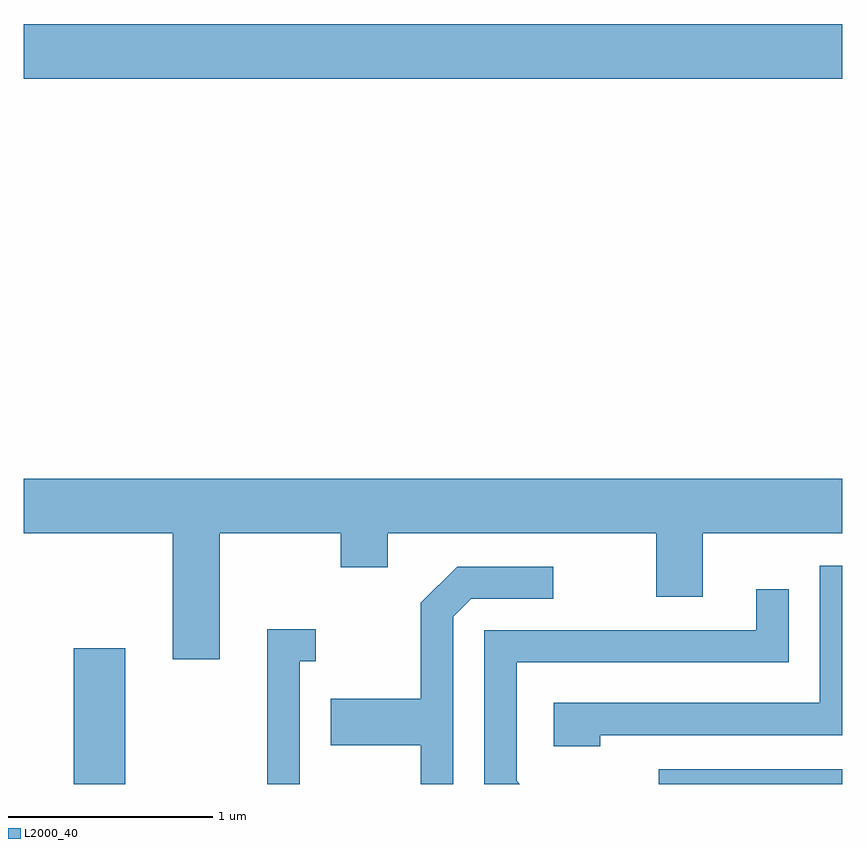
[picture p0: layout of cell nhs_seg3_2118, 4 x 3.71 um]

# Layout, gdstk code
import gdstk
lib = gdstk.Library(unit=1e-6, precision=1e-09)
def R(c, l, rs):  # rectangles x0, y0, x1, y1
    for r in rs: c.add(gdstk.rectangle(r[:2], r[2:], *l))
def P(c, l, *ps):  # polygons
    for p in ps: c.add(gdstk.Polygon(p, *l))
L2000_40 = (2000, 40)

nhs_seg3_2118 = lib.new_cell('nhs_seg3_2118')
R(nhs_seg3_2118, L2000_40, [(247.856,1135.892,248.109,1136.554), (250.713,1135.892,251.611,1135.964), (247.611,1139.336,251.611,1139.604)])
P(nhs_seg3_2118, L2000_40, [(248.569,1137.116),(249.161,1137.116),(249.161,1136.951),(249.389,1136.951),(249.389,1137.116),(250.701,1137.116),(250.701,1136.806),(250.929,1136.806),(250.929,1137.116),(251.611,1137.116),(251.611,1137.384),(247.611,1137.384),(247.611,1137.116),(248.341,1137.116),(248.341,1136.501),(248.569,1136.501)],
  [(250.429,1136.131),(251.611,1136.131),(251.611,1136.959),(251.501,1136.959),(251.501,1136.289),(250.201,1136.289),(250.201,1136.076),(250.429,1136.076)],
  [(249.709,1136.709),(249.797,1136.796),(250.198,1136.796),(250.198,1136.954),(249.729,1136.954),(249.551,1136.777),(249.551,1136.309),(249.111,1136.309),(249.111,1136.081),(249.551,1136.081),(249.551,1135.892),(249.709,1135.892)],
  [(250.019,1135.907),(250.019,1136.486),(251.349,1136.486),(251.349,1136.843),(251.191,1136.843),(251.191,1136.644),(249.861,1136.644),(249.861,1135.892),(250.034,1135.892)],
  [(248.959,1136.491),(249.038,1136.491),(249.038,1136.649),(248.801,1136.649),(248.801,1135.892),(248.959,1135.892)])

lib.write_gds('nhs_seg3_2118.gds')
